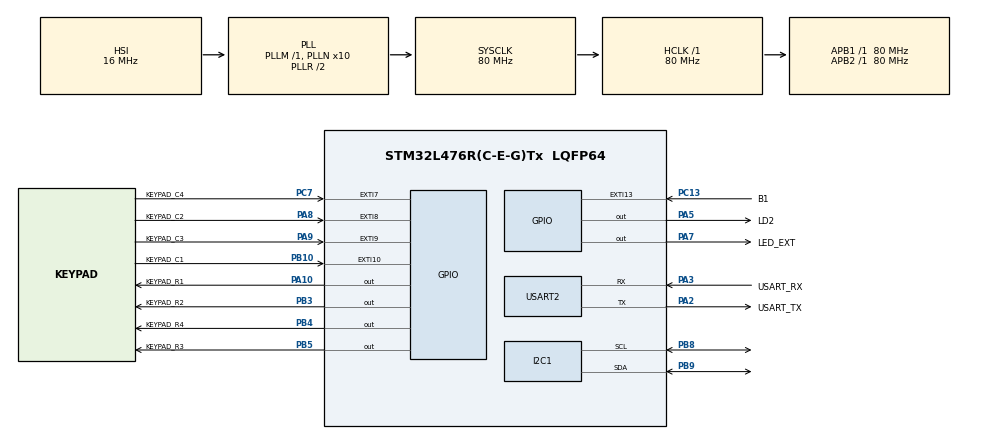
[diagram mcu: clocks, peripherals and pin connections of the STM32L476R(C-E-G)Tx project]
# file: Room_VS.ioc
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I2C1.Timing=0x10D19CE4
Mcu.Family=STM32L4
Mcu.Name=STM32L476R(C-E-G)Tx
Mcu.Package=LQFP64
NVIC.EXTI15_10_IRQn=true\:0\:0\:false\:false\:true\:true\:true\:true
NVIC.EXTI9_5_IRQn=true\:0\:0\:false\:false\:true\:true\:true\:true
NVIC.PriorityGroup=NVIC_PRIORITYGROUP_4
NVIC.USART2_IRQn=true\:0\:0\:false\:false\:true\:true\:true\:true
PA10.GPIO_Label=KEYPAD_R1
PA10.Signal=GPIO_Output
PA13\ (JTMS-SWDIO).GPIO_Label=TMS
PA13\ (JTMS-SWDIO).Mode=Serial_Wire
PA13\ (JTMS-SWDIO).Signal=SYS_JTMS-SWDIO
PA14\ (JTCK-SWCLK).GPIO_Label=TCK
PA14\ (JTCK-SWCLK).Mode=Serial_Wire
PA14\ (JTCK-SWCLK).Signal=SYS_JTCK-SWCLK
PA2.GPIO_Label=USART_TX
PA2.GPIO_Mode=GPIO_MODE_AF_PP
PA2.GPIO_PuPd=GPIO_NOPULL
PA2.GPIO_Speed=GPIO_SPEED_FREQ_VERY_HIGH
PA2.Mode=Asynchronous
PA2.Signal=USART2_TX
PA3.GPIO_Label=USART_RX
PA3.GPIO_Mode=GPIO_MODE_AF_PP
PA3.GPIO_PuPd=GPIO_NOPULL
PA3.GPIO_Speed=GPIO_SPEED_FREQ_VERY_HIGH
PA3.Mode=Asynchronous
PA3.Signal=USART2_RX
PA5.GPIO_Label=LD2
PA5.GPIO_ModeDefaultOutputPP=GPIO_MODE_OUTPUT_PP
PA5.GPIO_PuPd=GPIO_NOPULL
PA5.GPIO_Speed=GPIO_SPEED_FREQ_LOW
PA5.Signal=GPIO_Output
PA7.GPIO_Label=LED_EXT
PA7.Signal=GPIO_Output
PA8.GPIO_Label=KEYPAD_C2
PA8.GPIO_ModeDefaultEXTI=GPIO_MODE_IT_FALLING
PA8.GPIO_PuPd=GPIO_PULLUP
PA8.Signal=GPXTI8
PA9.GPIO_Label=KEYPAD_C3
PA9.GPIO_ModeDefaultEXTI=GPIO_MODE_IT_FALLING
PA9.GPIO_PuPd=GPIO_PULLUP
PA9.Signal=GPXTI9
PB10.GPIO_Label=KEYPAD_C1
PB10.GPIO_ModeDefaultEXTI=GPIO_MODE_IT_FALLING
PB10.GPIO_PuPd=GPIO_PULLUP
PB10.Signal=GPXTI10
PB3\ (JTDO-TRACESWO).GPIO_Label=KEYPAD_R2
PB3\ (JTDO-TRACESWO).Signal=GPIO_Output
PB4\ (NJTRST).GPIO_Label=KEYPAD_R4
PB4\ (NJTRST).Signal=GPIO_Output
PB5.GPIO_Label=KEYPAD_R3
PB5.Signal=GPIO_Output
PB8.Mode=I2C
PB8.Signal=I2C1_SCL
PB9.Mode=I2C
PB9.Signal=I2C1_SDA
PC13.GPIO_Label=B1
PC13.GPIO_ModeDefaultEXTI=GPIO_MODE_IT_FALLING
PC13.Signal=GPXTI13
PC14-OSC32_IN\ (PC14).Mode=LSE-External-Oscillator
PC14-OSC32_IN\ (PC14).Signal=RCC_OSC32_IN
PC15-OSC32_OUT\ (PC15).Mode=LSE-External-Oscillator
PC15-OSC32_OUT\ (PC15).Signal=RCC_OSC32_OUT
PC7.GPIO_Label=KEYPAD_C4
PC7.GPIO_ModeDefaultEXTI=GPIO_MODE_IT_FALLING
PC7.GPIO_PuPd=GPIO_PULLUP
PC7.Signal=GPXTI7
PH0-OSC_IN\ (PH0).Signal=RCC_OSC_IN
PH1-OSC_OUT\ (PH1).Signal=RCC_OSC_OUT
ProjectManager.HeapSize=0x200
ProjectManager.StackSize=0x400
ProjectManager.TargetToolchain=CMake
RCC.ADCFreq_Value=64000000
RCC.AHBFreq_Value=80000000
RCC.APB1Freq_Value=80000000
RCC.APB1TimFreq_Value=80000000
RCC.APB2Freq_Value=80000000
RCC.APB2TimFreq_Value=80000000
RCC.CortexFreq_Value=80000000
RCC.HCLKFreq_Value=80000000
RCC.HSE_VALUE=8000000
RCC.HSI_VALUE=16000000
RCC.MSI_VALUE=4000000
RCC.PLLN=10
RCC.PLLSourceVirtual=RCC_PLLSOURCE_HSI
RCC.PREFETCH_ENABLE=1
RCC.SYSCLKFreq_VALUE=80000000
RCC.SYSCLKSource=RCC_SYSCLKSOURCE_PLLCLK
RCC.USBFreq_Value=64000000
RCC.VCOOutputFreq_Value=160000000
USART2.VirtualMode-Asynchronous=VM_ASYNC
board=NUCLEO-L476RG

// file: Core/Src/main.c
/* USER CODE BEGIN Header */
/**
  **************************
  * @file           : main.c
  * @brief          : Main program body
  **************************
  * @attention
  *
  * Copyright (c) 2025 STMicroelectronics.
  * All rights reserved.
  *
  * This software is licensed under terms that can be found in the LICENSE file
  * in the root directory of this software component.
  * If no LICENSE file comes with this software, it is provided AS-IS.
  *
  **************************
  */
/* USER CODE END Header */
#include "main.h"

/* USER CODE BEGIN Includes */

#include "led_driver.h"
#include "ring_buffer.h"
#include "keypad_driver.h"
#include "ssd1306.h"
#include "ssd1306_fonts.h"
#include <stdio.h>
#include <string.h>
/* USER CODE END Includes */

/* USER CODE BEGIN PM */

I2C_HandleTypeDef hi2c1;
UART_HandleTypeDef huart2;

/* USER CODE BEGIN PV */
led_handle_t led1 = { .port = GPIOA, .pin = GPIO_PIN_5 }; // LD2 en NUCLEO-L476RG

#define UART2_RX_LEN 16
uint8_t uart2_rx_buffer[UART2_RX_LEN];
ring_buffer_t uart2_rx_rb;
uint8_t uart2_rx_data; // Variable to hold received data

keypad_handle_t keypad = {
    .row_ports = {KEYPAD_R1_GPIO_Port, KEYPAD_R2_GPIO_Port, KEYPAD_R3_GPIO_Port, KEYPAD_R4_GPIO_Port},
    .row_pins  = {KEYPAD_R1_Pin, KEYPAD_R2_Pin, KEYPAD_R3_Pin, KEYPAD_R4_Pin},
    .col_ports = {KEYPAD_C1_GPIO_Port, KEYPAD_C2_GPIO_Port, KEYPAD_C3_GPIO_Port, KEYPAD_C4_GPIO_Port},
    .col_pins  = {KEYPAD_C1_Pin, KEYPAD_C2_Pin, KEYPAD_C3_Pin, KEYPAD_C4_Pin}
};

#define KEYPAD_BUFFER_LEN 16
uint8_t keypad_buffer[KEYPAD_BUFFER_LEN];
ring_buffer_t keypad_rb;

/* --- Variables de Control de Acceso --- */
#define ACCESS_CODE_LENGTH 4
const char access_code[ACCESS_CODE_LENGTH + 1] = "D514"; // Codigo de acceso
char entered_code[ACCESS_CODE_LENGTH + 1] = {0};
uint8_t entered_count = 0;
uint8_t access_granted = 0;
uint8_t access_denied = 0;
/* USER CODE END PV */

/* Redirección de printf a UART2 */
int __io_putchar(int ch) {
    HAL_UART_Transmit(&huart2, (uint8_t *)&ch, 1, HAL_MAX_DELAY);
    return ch;
}
int _write(int file, char *ptr, int len) {
    HAL_UART_Transmit(&huart2, (uint8_t *)ptr, len, HAL_MAX_DELAY);
    (void)file;
    return len;
}

void SystemClock_Config(void);
static void MX_GPIO_Init(void);
static void MX_USART2_UART_Init(void);
static void MX_I2C1_Init(void);

/* USER CODE BEGIN 0 */
uint32_t last_interrupt_time = 0;  // Variable global para almacenar el tiempo de la última interrupción
#define DEBOUNCE_DELAY 50           // Tiempo de debounce en milisegundos

void HAL_UART_RxCpltCallback(UART_HandleTypeDef *huart)
{
    if (huart->Instance == USART2) {
      HAL_UART_Receive_IT(&huart2, &uart2_rx_data, 1);
      ring_buffer_write(&uart2_rx_rb, uart2_rx_data);
    }
}

void HAL_GPIO_EXTI_Callback(uint16_t GPIO_Pin) {
    uint32_t current_time = HAL_GetTick();
    if (current_time - last_interrupt_time > DEBOUNCE_DELAY) {
        char key = keypad_scan(&keypad, GPIO_Pin);
        if (key != '\0') {
            printf("Tecla presionada: %c\r\n", key); // Imprime la tecla presionada
            if (!access_granted && !access_denied) {
                ring_buffer_write(&keypad_rb, (uint8_t)key);
            }
        }
        last_interrupt_time = current_time;  // Actualiza el tiempo de la última interrupción
    }
}

/* Ayuda */ // Función para encender un LED n veces con un retardo
void blink_led(led_handle_t *led, uint8_t times, uint32_t delay_ms) {
    for (uint8_t i = 0; i < times; i++) {
        led_on(led);
        HAL_Delay(delay_ms);
        led_off(led);
        HAL_Delay(delay_ms);
    }
}
/* USER CODE END 0 */

int main(void)
{

  /* MCU Configuration--------------------------------------------------------*/

  /* Reset of all peripherals, Initializes the Flash interface and the Systick. */
  HAL_Init();

  /* Configure the system clock */
  SystemClock_Config();

  /* Initialize all configured peripherals */
  MX_GPIO_Init();
  MX_USART2_UART_Init();
  MX_I2C1_Init();
  /* USER CODE BEGIN 2 */

  ring_buffer_init(&uart2_rx_rb, uart2_rx_buffer, UART2_RX_LEN);
  HAL_UART_Receive_IT(&huart2, &uart2_rx_data, 1);

  led_init(&led1);
  ring_buffer_init(&keypad_rb, keypad_buffer, KEYPAD_BUFFER_LEN);
  keypad_init(&keypad);

  // Inicializa la pantalla OLED
  ssd1306_Init();
  ssd1306_Fill(Black);
  ssd1306_SetCursor(10, 10);
  ssd1306_WriteString("Hola Jhojan", Font_7x10, White);
  ssd1306_SetCursor(10, 30);
  ssd1306_WriteString("Ingresa tu clave:", Font_7x10, White);
  ssd1306_UpdateScreen();

  printf("Sistema listo. Esperando pulsaciones del teclado...\r\n"); // Mensaje inicial por UART
  /* USER CODE END 2 */

  /* Infinite loop */
  /* USER CODE BEGIN WHILE */
  while (1)
  {
    /* --- Logica de Control de Acceso --- */
    uint8_t key_from_buffer;

    if (ring_buffer_read(&keypad_rb, &key_from_buffer)) {
        char key = (char)key_from_buffer;

        // Mostrar tecla en OLED
        ssd1306_SetCursor(10 + entered_count * 15, 50);
        char key_str[2] = {key, 0};
        ssd1306_WriteString(key_str, Font_7x10, White);
        ssd1306_UpdateScreen();

        // Almacenar tecla
        if (entered_count < ACCESS_CODE_LENGTH) {
            entered_code[entered_count++] = key;
        }

        // Verificar si se ha ingresado el código completo
        if (entered_count == ACCESS_CODE_LENGTH) {
            entered_code[ACCESS_CODE_LENGTH] = '\0';

            // Mostrar código ingresado por UART
            printf("Codigo ingresado: %s\r\n", entered_code);

            // Comparar
            if (strcmp(entered_code, access_code) == 0) {
                // Acceso permitido
                access_granted = 1;
                access_denied = 0;
                led_on(&led1); // Enciende el LED

                // Mostrar en OLED
                ssd1306_Fill(Black);
                ssd1306_SetCursor(10, 20);
                ssd1306_WriteString("Bienvenido", Font_7x10, White);
                ssd1306_UpdateScreen();

                printf("ACCESO PERMITIDO\r\n");
            } else {
                // Acceso denegado
                access_granted = 0;
                access_denied = 1;
                blink_led(&led1, 3, 200);

                // Mostrar en OLED
                ssd1306_Fill(Black);
                ssd1306_SetCursor(10, 20);
                ssd1306_WriteString("ACCESO DENEGADO", Font_7x10, White);
                ssd1306_UpdateScreen();

                printf("ACCESO DENEGADO\r\n"); // Mensaje por UART
            }

            // Esperar un tiempo antes de reiniciar
            HAL_Delay(1200);
            led_off(&led1);
            entered_count = 0;
            memset(entered_code, 0, sizeof(entered_code));
            access_granted = 0; // Reinicia la bandera
            access_denied = 0;    // Reinicia la bandera

            // Limpiar pantalla OLED
            ssd1306_Fill(Black);
            ssd1306_SetCursor(10, 10);
            ssd1306_WriteString("Hola Jhojan", Font_7x10, White);
            ssd1306_SetCursor(10, 30);
            ssd1306_WriteString("Ingresa tu clave:", Font_7x10, White);
            ssd1306_UpdateScreen();
        }
    }
    else
    {
         HAL_Delay(10);
    }

    // Mostrar el estado del LED en la consola
    if (ring_buffer_count(&uart2_rx_rb) >= 5) {
        for (int i = 0; i < 5; i++) {
            if (ring_buffer_read(&uart2_rx_rb, &uart2_rx_data)) {
                HAL_UART_Transmit(&huart2, &uart2_rx_data, 1, HAL_MAX_DELAY);
            }
        }
    }

    HAL_Delay(10); // Pequeño retardo para evitar saturar el bucle
    /* USER CODE END WHILE */

  }
}

void SystemClock_Config(void)
{
  RCC_OscInitTypeDef RCC_OscInitStruct = {0};
  RCC_ClkInitTypeDef RCC_ClkInitStruct = {0};

  /** Configure the main internal regulator output voltage
  */
  if (HAL_PWREx_ControlVoltageScaling(PWR_REGULATOR_VOLTAGE_SCALE1) != HAL_OK)
  {
    Error_Handler();
  }

  /** Initializes the RCC Oscillators according to the specified parameters
  * in the RCC_OscInitTypeDef structure.
  */
  RCC_OscInitStruct.OscillatorType = RCC_OSCILLATORTYPE_HSI;
  RCC_OscInitStruct.HSIState = RCC_HSI_ON;
  RCC_OscInitStruct.HSICalibrationValue = RCC_HSICALIBRATION_DEFAULT;
  RCC_OscInitStruct.PLL.PLLState = RCC_PLL_ON;
  RCC_OscInitStruct.PLL.PLLSource = RCC_PLLSOURCE_HSI;
  RCC_OscInitStruct.PLL.PLLM = 1;
  RCC_OscInitStruct.PLL.PLLN = 10;
  RCC_OscInitStruct.PLL.PLLP = RCC_PLLP_DIV7;
  RCC_OscInitStruct.PLL.PLLQ = RCC_PLLQ_DIV2;
  RCC_OscInitStruct.PLL.PLLR = RCC_PLLR_DIV2;
  if (HAL_RCC_OscConfig(&RCC_OscInitStruct) != HAL_OK)
  {
    Error_Handler();
  }

  /** Initializes the CPU, AHB and APB buses clocks
  */
  RCC_ClkInitStruct.ClockType = RCC_CLOCKTYPE_HCLK|RCC_CLOCKTYPE_SYSCLK
                              |RCC_CLOCKTYPE_PCLK1|RCC_CLOCKTYPE_PCLK2;
  RCC_ClkInitStruct.SYSCLKSource = RCC_SYSCLKSOURCE_PLLCLK;
  RCC_ClkInitStruct.AHBCLKDivider = RCC_SYSCLK_DIV1;
  RCC_ClkInitStruct.APB1CLKDivider = RCC_HCLK_DIV1;
  RCC_ClkInitStruct.APB2CLKDivider = RCC_HCLK_DIV1;

  if (HAL_RCC_ClockConfig(&RCC_ClkInitStruct, FLASH_LATENCY_4) != HAL_OK)
  {
    Error_Handler();
  }
}

static void MX_I2C1_Init(void)
{

  hi2c1.Instance = I2C1;
  hi2c1.Init.Timing = 0x10D19CE4;
  hi2c1.Init.OwnAddress1 = 0;
  hi2c1.Init.AddressingMode = I2C_ADDRESSINGMODE_7BIT;
  hi2c1.Init.DualAddressMode = I2C_DUALADDRESS_DISABLE;
  hi2c1.Init.OwnAddress2 = 0;
  hi2c1.Init.OwnAddress2Masks = I2C_OA2_NOMASK;
  hi2c1.Init.GeneralCallMode = I2C_GENERALCALL_DISABLE;
  hi2c1.Init.NoStretchMode = I2C_NOSTRETCH_DISABLE;
  if (HAL_I2C_Init(&hi2c1) != HAL_OK)
  {
    Error_Handler();
  }

  /** Configure Analogue filter
  */
  if (HAL_I2CEx_ConfigAnalogFilter(&hi2c1, I2C_ANALOGFILTER_ENABLE) != HAL_OK)
  {
    Error_Handler();
  }

  /** Configure Digital filter
  */
  if (HAL_I2CEx_ConfigDigitalFilter(&hi2c1, 0) != HAL_OK)
  {
    Error_Handler();
  }

}

static void MX_USART2_UART_Init(void)
{

  huart2.Instance = USART2;
  huart2.Init.BaudRate = 115200;
  huart2.Init.WordLength = UART_WORDLENGTH_8B;
  huart2.Init.StopBits = UART_STOPBITS_1;
  huart2.Init.Parity = UART_PARITY_NONE;
  huart2.Init.Mode = UART_MODE_TX_RX;
  huart2.Init.HwFlowCtl = UART_HWCONTROL_NONE;
  huart2.Init.OverSampling = UART_OVERSAMPLING_16;
  huart2.Init.OneBitSampling = UART_ONE_BIT_SAMPLE_DISABLE;
  huart2.AdvancedInit.AdvFeatureInit = UART_ADVFEATURE_NO_INIT;
  if (HAL_UART_Init(&huart2) != HAL_OK)
  {
    Error_Handler();
  }

}

static void MX_GPIO_Init(void)
{
  GPIO_InitTypeDef GPIO_InitStruct = {0};

  /* GPIO Ports Clock Enable */
  __HAL_RCC_GPIOC_CLK_ENABLE();
  __HAL_RCC_GPIOH_CLK_ENABLE();
  __HAL_RCC_GPIOA_CLK_ENABLE();
  __HAL_RCC_GPIOB_CLK_ENABLE();

  /*Configure GPIO pin Output Level */
  HAL_GPIO_WritePin(GPIOA, LD2_Pin|KEYPAD_R1_Pin, GPIO_PIN_RESET);

  /*Configure GPIO pin Output Level */
  HAL_GPIO_WritePin(GPIOB, KEYPAD_R2_Pin|KEYPAD_R4_Pin|KEYPAD_R3_Pin, GPIO_PIN_RESET);

  /*Configure GPIO pin : B1_Pin */
  GPIO_InitStruct.Pin = B1_Pin;
  GPIO_InitStruct.Mode = GPIO_MODE_IT_FALLING;
  GPIO_InitStruct.Pull = GPIO_NOPULL;
  HAL_GPIO_Init(B1_GPIO_Port, &GPIO_InitStruct);

  /*Configure GPIO pins : LD2_Pin KEYPAD_R1_Pin */
  GPIO_InitStruct.Pin = LD2_Pin|KEYPAD_R1_Pin;
  GPIO_InitStruct.Mode = GPIO_MODE_OUTPUT_PP;
  GPIO_InitStruct.Pull = GPIO_NOPULL;
  GPIO_InitStruct.Speed = GPIO_SPEED_FREQ_LOW;
  HAL_GPIO_Init(GPIOA, &GPIO_InitStruct);

  /*Configure GPIO pin : KEYPAD_C1_Pin */
  GPIO_InitStruct.Pin = KEYPAD_C1_Pin;
  GPIO_InitStruct.Mode = GPIO_MODE_IT_RISING;
  GPIO_InitStruct.Pull = GPIO_PULLUP;
  HAL_GPIO_Init(KEYPAD_C1_GPIO_Port, &GPIO_InitStruct);

  /*Configure GPIO pin : KEYPAD_C4_Pin */
  GPIO_InitStruct.Pin = KEYPAD_C4_Pin;
  GPIO_InitStruct.Mode = GPIO_MODE_IT_RISING;
  GPIO_InitStruct.Pull = GPIO_PULLUP;
  HAL_GPIO_Init(KEYPAD_C4_GPIO_Port, &GPIO_InitStruct);

  /*Configure GPIO pins : KEYPAD_C2_Pin KEYPAD_C3_Pin */
  GPIO_InitStruct.Pin = KEYPAD_C2_Pin|KEYPAD_C3_Pin;
  GPIO_InitStruct.Mode = GPIO_MODE_IT_RISING;
  GPIO_InitStruct.Pull = GPIO_PULLUP;
  HAL_GPIO_Init(GPIOA, &GPIO_InitStruct);

  /*Configure GPIO pins : KEYPAD_R2_Pin KEYPAD_R4_Pin KEYPAD_R3_Pin */
  GPIO_InitStruct.Pin = KEYPAD_R2_Pin|KEYPAD_R4_Pin|KEYPAD_R3_Pin;
  GPIO_InitStruct.Mode = GPIO_MODE_OUTPUT_PP;
  GPIO_InitStruct.Pull = GPIO_NOPULL;
  GPIO_InitStruct.Speed = GPIO_SPEED_FREQ_LOW;
  HAL_GPIO_Init(GPIOB, &GPIO_InitStruct);

  /* EXTI interrupt init*/
  HAL_NVIC_SetPriority(EXTI9_5_IRQn, 0, 0);
  HAL_NVIC_EnableIRQ(EXTI9_5_IRQn);

  HAL_NVIC_SetPriority(EXTI15_10_IRQn, 0, 0);
  HAL_NVIC_EnableIRQ(EXTI15_10_IRQn);

}

void Error_Handler(void)
{
  __disable_irq();
  while (1)
  {
  }
}
